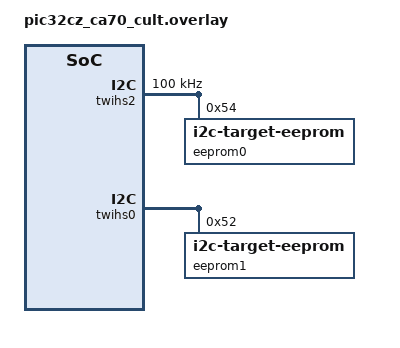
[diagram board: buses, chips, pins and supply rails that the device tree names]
/*
 * SPDX-FileCopyrightText: Copyright (c) 2026 Microchip Technology Inc.
 *
 * SPDX-License-Identifier: Apache-2.0
 */

/delete-node/ &eeprom0;

&pinctrl {
	ext_header_i2c2: ext_header_i2c2 {
		group1 {
			pinmux = <PD27C_TWD2>,
				 <PD28C_TWCK2>;
		};
	};
};

&twihs2 {
	clock-frequency = <I2C_BITRATE_STANDARD>;
	pinctrl-0 = <&ext_header_i2c2>;
	pinctrl-names = "default";
	status = "okay";

	eeprom0: eeprom@54 {
		compatible = "zephyr,i2c-target-eeprom";
		reg = <0x54>;
		address-width = <16>;
		size = <1024>;
	};
};

/** NOTE: TWIHS0 is connected to the onboard AT24MAC402, which provides EEPROM at address 0x56
 *       and SERIAL at 0x5E.
 *       The eeprom@52 definition below is required only for the build and is not used at runtime.
 */
&twihs0 {
	pinctrl-0 = <&ext1_header_i2c0>;
	pinctrl-names = "default";
	status = "okay";

	eeprom1: eeprom@52 {
		compatible = "zephyr,i2c-target-eeprom";
		reg = <0x52>;
		size = <256>;
	};
};
